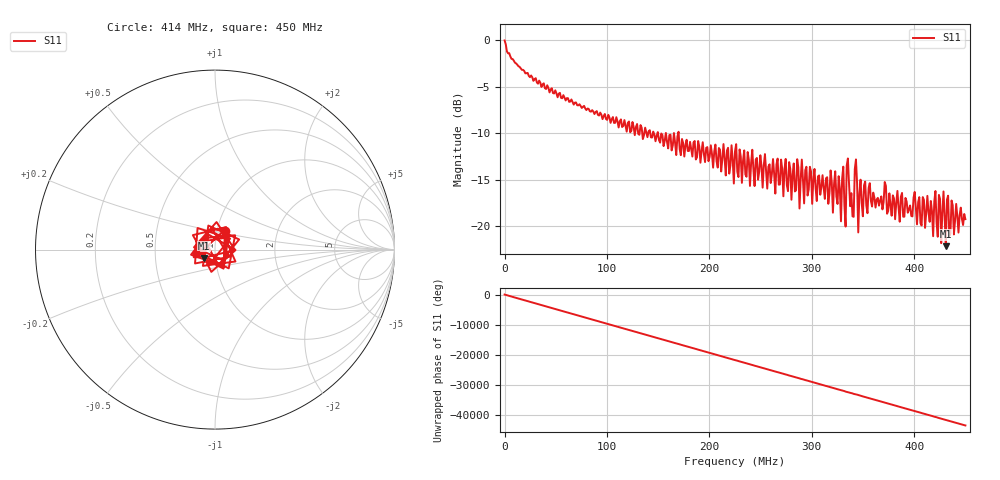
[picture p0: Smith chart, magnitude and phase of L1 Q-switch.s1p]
! NanoVNA-App
! Date: 2026-09-29 13:49:52
! Start: 50kHz Stop: 450MHz Points: 401
! S-Parameter data: F S11
# Hz S RI R 50
!  Frequency  S11_Real  S11_Imag
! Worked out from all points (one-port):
!   401 points, 50 kHz to 450 MHz, reference 50 ohm
!   lowest |S11| = -22.2 dB at 430.9 MHz (marker M1), VSWR 1.17, Z = 43.9 - j4.06 ohm
!   |S11| at or under -10 dB: 149.8 MHz to 157.5 MHz (7.646 MHz wide, 4.98 % of centre); 157.6 MHz to 165.4 MHz (7.802 MHz wide, 4.83 % of centre); 170 MHz to end of sweep (the widest 3 of 10)
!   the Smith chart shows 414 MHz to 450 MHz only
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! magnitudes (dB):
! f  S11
! 50 kHz  0.0
! 18.05 MHz  -3.2
! 56.29 MHz  -6.2
! 112.5 MHz  -8.7
! 168.8 MHz  -10.4
! 225 MHz  -12.0
! 281.3 MHz  -14.5
! 318.4 MHz  -14.0
! 320.6 MHz  -18.5
! 326.3 MHz  -14.6
! 328.5 MHz  -19.5
! 330.8 MHz  -13.6
! 336.4 MHz  -15.5
! 337.5 MHz  -17.9
! 338.6 MHz  -16.4
! 344.3 MHz  -15.4
! 347.6 MHz  -15.0
! 349.9 MHz  -18.9
! 393.8 MHz  -18.6
! 420.8 MHz  -16.2
! 423 MHz  -21.1
! 424.1 MHz  -16.6
! 426.4 MHz  -21.8
! 428.6 MHz  -16.3
! 430.9 MHz  -22.2
! 433.1 MHz  -16.7
! 434.3 MHz  -21.1
! 450 MHz  -19.2
